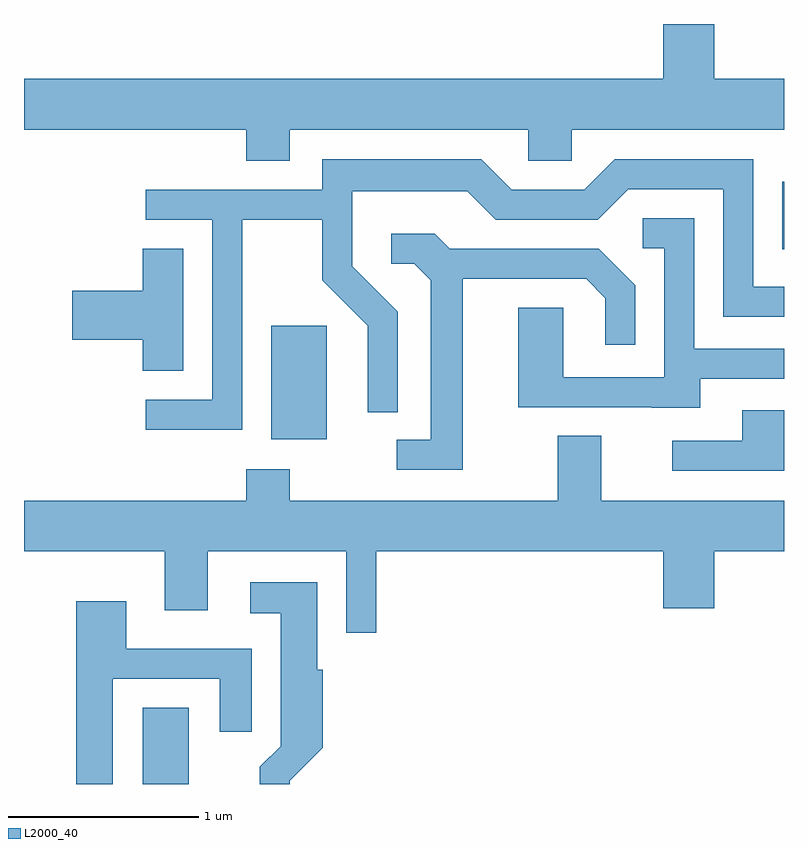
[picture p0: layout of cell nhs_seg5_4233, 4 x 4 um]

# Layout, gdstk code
import gdstk
lib = gdstk.Library(unit=1e-6, precision=1e-09)
def R(c, l, rs):  # rectangles x0, y0, x1, y1
    for r in rs: c.add(gdstk.rectangle(r[:2], r[2:], *l))
def P(c, l, *ps):  # polygons
    for p in ps: c.add(gdstk.Polygon(p, *l))
L2000_40 = (2000, 40)

nhs_seg5_4233 = lib.new_cell('nhs_seg5_4233')
R(nhs_seg5_4233, L2000_40, [(312.236,1400.072,312.479,1400.474), (312.911,1401.886,313.204,1402.484), (315.601,1402.886,315.611,1403.243)])
P(nhs_seg5_4233, L2000_40, [(313.009,1403.516),(314.266,1403.516),(314.266,1403.351),(314.494,1403.351),(314.494,1403.516),(315.611,1403.516),(315.611,1403.784),(315.244,1403.784),(315.244,1404.072),(314.976,1404.072),(314.976,1403.784),(311.611,1403.784),(311.611,1403.516),(312.781,1403.516),(312.781,1403.351),(313.009,1403.351)],
  [(312.759,1403.041),(313.181,1403.041),(313.181,1402.724),(313.421,1402.484),(313.421,1402.028),(313.579,1402.028),(313.579,1402.557),(313.339,1402.797),(313.339,1403.191),(313.944,1403.191),(314.094,1403.041),(314.632,1403.041),(314.792,1403.201),(315.291,1403.201),(315.291,1402.531),(315.611,1402.531),(315.611,1402.689),(315.449,1402.689),(315.449,1403.359),(314.719,1403.359),(314.559,1403.199),(314.177,1403.199),(314.017,1403.359),(313.181,1403.359),(313.181,1403.199),(312.253,1403.199),(312.253,1403.041),(312.601,1403.041),(312.601,1402.094),(312.253,1402.094),(312.253,1401.936),(312.759,1401.936)],
  [(315.169,1402.206),(315.611,1402.206),(315.611,1402.364),(315.139,1402.364),(315.139,1403.049),(314.868,1403.049),(314.868,1402.891),(314.981,1402.891),(314.981,1402.214),(314.449,1402.214),(314.449,1402.579),(314.211,1402.579),(314.211,1402.056),(314.915,1402.056),(314.915,1402.051),(315.169,1402.051)],
  [(313.919,1402.731),(314.569,1402.731),(314.671,1402.629),(314.671,1402.383),(314.829,1402.383),(314.829,1402.697),(314.637,1402.889),(313.852,1402.889),(313.772,1402.969),(313.543,1402.969),(313.543,1402.811),(313.664,1402.811),(313.751,1402.724),(313.751,1401.884),(313.573,1401.884),(313.573,1401.726),(313.919,1401.726)],
  [(312.449,1402.889),(312.236,1402.889),(312.236,1402.669),(311.866,1402.669),(311.866,1402.411),(312.236,1402.411),(312.236,1402.246),(312.449,1402.246)],
  [(315.611,1402.039),(315.391,1402.039),(315.391,1401.879),(315.023,1401.879),(315.023,1401.721),(315.611,1401.721)],
  [(313.464,1401.296),(314.976,1401.296),(314.976,1400.996),(315.244,1400.996),(315.244,1401.296),(315.611,1401.296),(315.611,1401.564),(314.649,1401.564),(314.649,1401.904),(314.421,1401.904),(314.421,1401.564),(313.009,1401.564),(313.009,1401.729),(312.781,1401.729),(312.781,1401.564),(311.611,1401.564),(311.611,1401.296),(312.351,1401.296),(312.351,1400.986),(312.579,1400.986),(312.579,1401.296),(313.306,1401.296),(313.306,1400.868),(313.464,1400.868)],
  [(313.009,1400.089),(313.184,1400.264),(313.184,1400.674),(313.154,1400.674),(313.154,1401.134),(312.803,1401.134),(312.803,1400.971),(312.961,1400.971),(312.961,1400.272),(312.851,1400.162),(312.851,1400.072),(313.009,1400.072)],
  [(312.079,1400.626),(312.641,1400.626),(312.641,1400.348),(312.809,1400.348),(312.809,1400.784),(312.149,1400.784),(312.149,1401.034),(311.886,1401.034),(311.886,1400.072),(312.079,1400.072)])

lib.write_gds('nhs_seg5_4233.gds')
